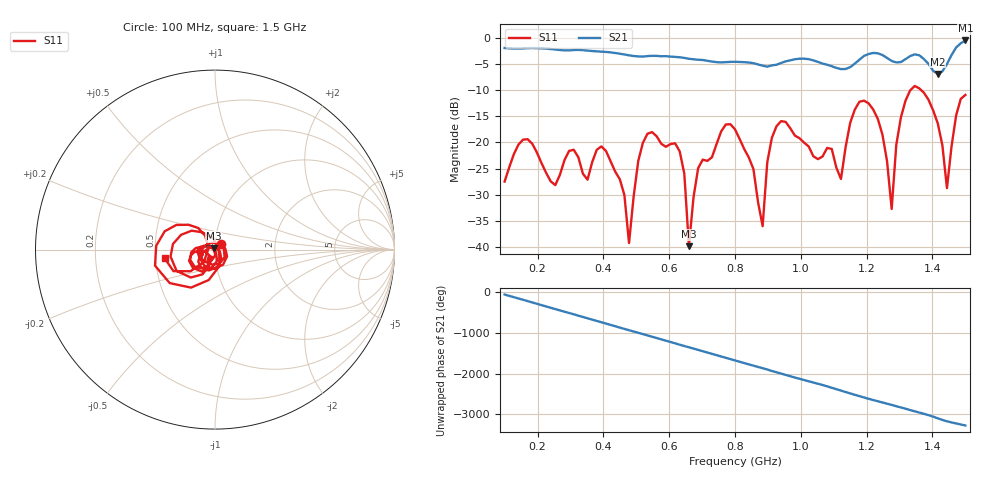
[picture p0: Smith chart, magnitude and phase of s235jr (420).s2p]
! NanoVNA-App
! Date: 2025-09-25 15:07:26
! Start: 100MHz Stop: 1,5GHz Points: 101
! S-Parameter data: F S11 S21 S12 S22
# Hz S RI R 50
!  Frequency  S11_Real  S11_Imag  S21_Real  S21_Imag  S12_Real  S12_Imag  S22_Real  S22_Imag
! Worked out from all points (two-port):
!   101 points, 100 MHz to 1.5 GHz, reference 50 ohm
!   highest |S21| = -0.53 dB at 1.5 GHz (marker M1); lowest = -6.9 dB at 1.416 GHz (marker M2)
!   |S21| within 3 dB of the highest: start of sweep to 497.7 MHz; 1.191 GHz to 1.254 GHz (62.61 MHz wide, 5.12 % of centre) (the widest 2 of 5)
!   lowest |S11| = -39.8 dB at 660 MHz (marker M3), VSWR 1.02, Z = 49.2 + j0.608 ohm
!   |S11| at or under -10 dB: start of sweep to 1.333 GHz; 1.365 GHz to end of sweep
!   S12 and S22 are empty: the file has one direction only
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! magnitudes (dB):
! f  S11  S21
! 100 MHz  -27.5  -2.0
! 156 MHz  -19.5  -2.1
! 338 MHz  -26.0  -2.4
! 408 MHz  -21.6  -2.7
! 478 MHz  -39.2  -3.4
! 520 MHz  -20.1  -3.6
! 576 MHz  -20.3  -3.5
! 632 MHz  -21.7  -3.7
! 660 MHz  -39.8  -4.0
! 688 MHz  -24.9  -4.2
! 800 MHz  -17.5  -4.6
! 884 MHz  -36.0  -5.3
! 926 MHz  -16.9  -5.2
! 1.038 GHz  -22.6  -4.3
! 1.122 GHz  -27.0  -6.0
! 1.206 GHz  -12.5  -3.1
! 1.276 GHz  -32.7  -4.4
! 1.29 GHz  -20.5  -4.7
! 1.332 GHz  -10.1  -3.5
! 1.416 GHz  -16.3  -6.9
! 1.444 GHz  -28.7  -5.0
! 1.5 GHz  -10.9  -0.5
